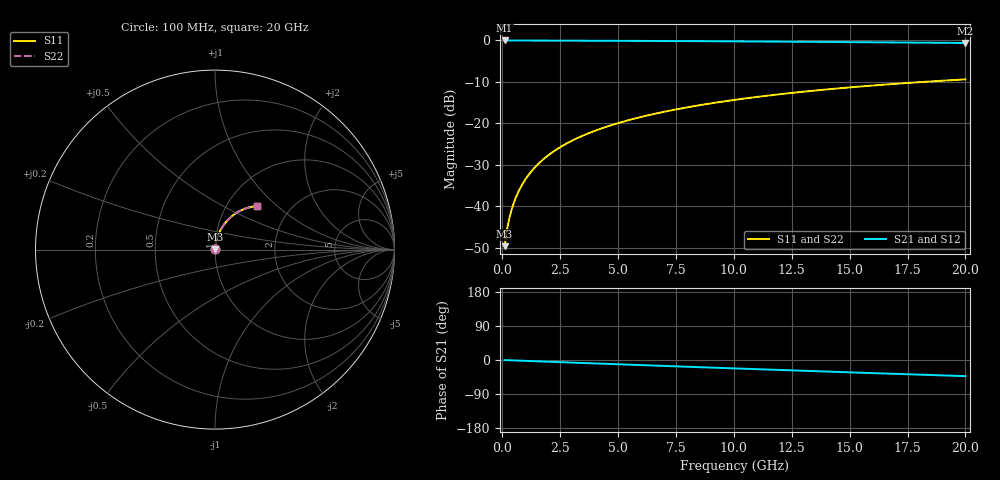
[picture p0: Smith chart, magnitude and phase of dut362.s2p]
! Touchstone file exported from HFSS 2026.1.0
!  File:  C:/ffzhzh/LocalFiles/Ansys_Project_Files/temp_train_BSMRDL_362_1783011637_53980.aedt
!  Generated:  01:02:08 AM Jul  3, 2026
!  Design:  BSMRDL
!  Project:  temp_train_BSMRDL_362_1783011637_53980
! Variables:
!  h_bsmrdl = 4.44um
!  h_ox = 20um
!  h_rdl = 5um
!  h_sub = 80um
!  h_tmrdl = 5um
!  h_tsv = 80um
!  h_via = 3um
!  l_bsmrdl = 653.08um
!  l_sub = 1053.08um
!  l_tmrdl = 200um
!  m_sub = 200um
!  pitch = 47.45um
!  r_tsv = 6um
!  s_tmrdl = 10um
!  w_bsmrdl = 24.53um
!  w_sub = 500um
!  w_tmrdl = 12um
!  x_tsv_center1 = 206um
!  x_tsv_center2 = 883.61um
!  x_tsv_center3 = 1095.61um
!  x_tsv_center4 = 1773.22um
!  x_tsv_center5 = 1985.22um
!  x_tsv_center6 = 2662.83um
# GHz S MA R 50.000000
! Terminal data exported
! Port[1] = BSM_RDL1_1_T1
! Port[2] = BSM_RDL1_1_T2
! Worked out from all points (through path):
!   200 points, 100 MHz to 20 GHz, reference 50 ohm
!   highest |S21| = -0.02 dB at 100 MHz (marker M1); lowest = -0.6 dB at 20 GHz (marker M2)
!   group delay of S21, straight-line fit = 5.91 ps
!   lowest |S11| = -49.7 dB at 100 MHz (marker M3), VSWR 1.01, Z = 50.2 + j0.231 ohm
!   |S11| at or under -10 dB: start of sweep to 18.26 GHz
!   |S22| runs from -49.7 to -9.4 dB; largest |S21 - S12| = 3.1e-15
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0.1  0.003282 44.4  0.9977 -0.2  0.9977 -0.2  0.003282 44.4
! Gamma 0 0 0 0
! Port Impedance 50 0 50 0
0.2  0.005129 60.2  0.9975 -0.5  0.9975 -0.5  0.00513 60.2
0.3  0.00706 67.2  0.9973 -0.7  0.9973 -0.7  0.00706 67.2
0.4  0.009011 71.3  0.9972 -0.9  0.9972 -0.9  0.009011 71.3
0.5  0.01098 73.9  0.9971 -1.2  0.9971 -1.2  0.01098 73.9
0.6  0.01297 75.8  0.997 -1.4  0.997 -1.4  0.01297 75.8
0.8  0.01699 78.1  0.9969 -1.8  0.9969 -1.8  0.01699 78.1
1.1  0.02307 79.8  0.9967 -2.5  0.9967 -2.5  0.02307 79.8
1.5  0.0312 80.5  0.9962 -3.4  0.9962 -3.4  0.0312 80.5
1.8  0.03729 80.6  0.9959 -4.1  0.9959 -4.1  0.03729 80.6
2.1  0.04335 80.4  0.9955 -4.8  0.9955 -4.8  0.04335 80.4
2.7  0.0554 79.7  0.9945 -6.2  0.9945 -6.2  0.0554 79.7
3.5  0.07125 78.4  0.9929 -8.0  0.9929 -8.0  0.07125 78.4
4.2  0.08492 77.1  0.9913 -9.5  0.9913 -9.5  0.08492 77.1
5  0.1003 75.5  0.9893 -11.3  0.9893 -11.3  0.1003 75.5
5.9  0.1173 73.7  0.9869 -13.3  0.9869 -13.3  0.1173 73.7
6.8  0.134 71.9  0.9842 -15.2  0.9842 -15.2  0.134 71.9
8.3  0.1611 68.8  0.9794 -18.5  0.9794 -18.5  0.1611 68.8
10.1  0.1925 65.2  0.973 -22.4  0.973 -22.4  0.1925 65.2
13.4  0.2464 58.6  0.9598 -29.3  0.9598 -29.3  0.2464 58.5
16.7  0.2952 52.1  0.9453 -36.0  0.9453 -36.0  0.2951 52.0
20  0.3383 45.7  0.9304 -42.6  0.9304 -42.6  0.3383 45.7
